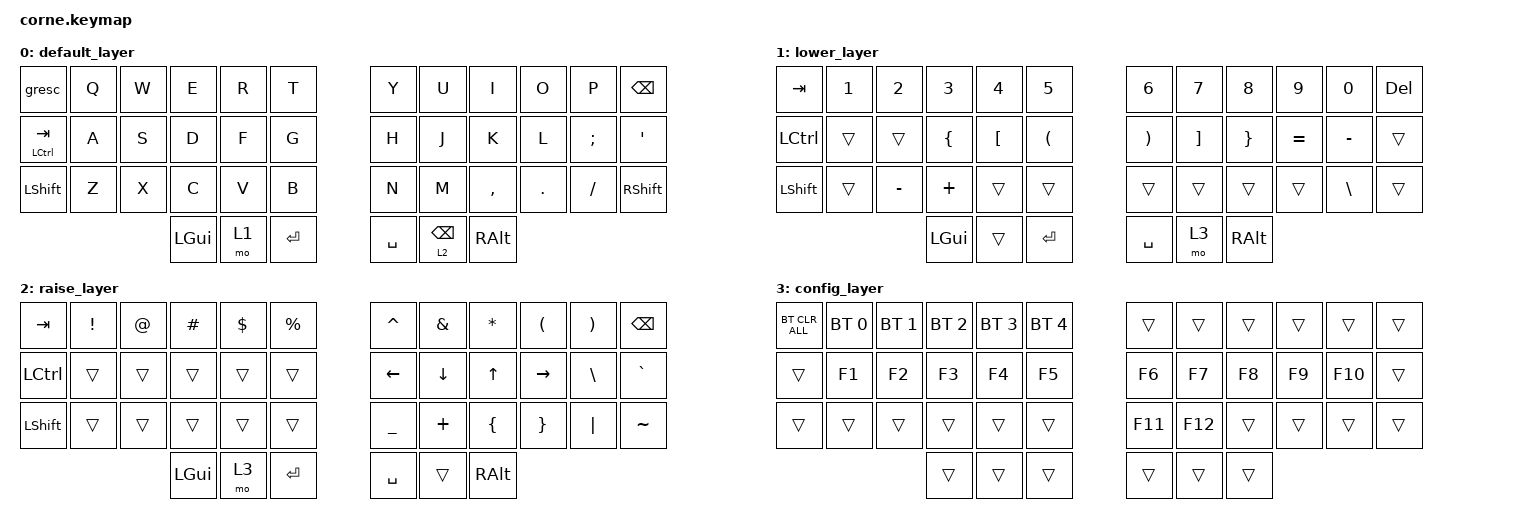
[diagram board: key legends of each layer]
/*
 * Copyright (c) 2020 The ZMK Contributors
 *
 * SPDX-License-Identifier: MIT
 */

#include <behaviors.dtsi>
#include <dt-bindings/zmk/bt.h>
#include <dt-bindings/zmk/keys.h>

&nice_view_spi {
  cs-gpios = <&pro_micro 0 GPIO_ACTIVE_HIGH>;
};

/ {
    keymap {
        compatible = "zmk,keymap";

        default_layer {
            bindings = <
&gresc         &kp Q  &kp W  &kp E     &kp R  &kp T      &kp Y      &kp U            &kp I      &kp O    &kp P     &kp BSPC
&mt LCTRL TAB  &kp A  &kp S  &kp D     &kp F  &kp G      &kp H      &kp J            &kp K      &kp L    &kp SEMI  &kp SQT
&kp LSHFT      &kp Z  &kp X  &kp C     &kp V  &kp B      &kp N      &kp M            &kp COMMA  &kp DOT  &kp FSLH  &kp RSHIFT
                             &kp LGUI  &mo 1  &kp RET    &kp SPACE  &lt 2 BACKSPACE  &kp RALT
            >;
        };

        lower_layer {
            bindings = <
&kp TAB    &kp N1  &kp N2     &kp N3    &kp N4    &kp N5      &kp N6     &kp N7    &kp N8    &kp N9     &kp N0     &kp DEL
&kp LCTRL  &trans  &trans     &kp LBRC  &kp LBKT  &kp LPAR    &kp RPAR   &kp RBKT  &kp RBRC  &kp EQUAL  &kp MINUS  &trans
&kp LSHFT  &trans  &kp MINUS  &kp PLUS  &trans    &trans      &trans     &trans    &trans    &trans     &kp BSLH   &trans
                              &kp LGUI  &trans    &kp RET     &kp SPACE  &mo 3     &kp RALT
            >;
        };

        raise_layer {
            bindings = <
&kp TAB    &kp EXCL  &kp AT  &kp HASH  &kp DLLR  &kp PRCNT    &kp CARET  &kp AMPS  &kp ASTRK  &kp LPAR   &kp RPAR  &kp BSPC
&kp LCTRL  &trans    &trans  &trans    &trans    &trans       &kp LEFT   &kp DOWN  &kp UP     &kp RIGHT  &kp BSLH  &kp GRAVE
&kp LSHFT  &trans    &trans  &trans    &trans    &trans       &kp UNDER  &kp PLUS  &kp LBRC   &kp RBRC   &kp PIPE  &kp TILDE
                             &kp LGUI  &mo 3     &kp RET      &kp SPACE  &trans    &kp RALT
            >;
        };

        config_layer {
            bindings = <
&bt BT_CLR_ALL  &bt BT_SEL 0  &bt BT_SEL 1  &bt BT_SEL 2  &bt BT_SEL 3  &bt BT_SEL 4    &trans   &trans   &trans  &trans  &trans   &trans
&trans          &kp F1        &kp F2        &kp F3        &kp F4        &kp F5          &kp F6   &kp F7   &kp F8  &kp F9  &kp F10  &trans
&trans          &trans        &trans        &trans        &trans        &trans          &kp F11  &kp F12  &trans  &trans  &trans   &trans
                                            &trans        &trans        &trans          &trans   &trans   &trans
            >;
        };
    };
};
